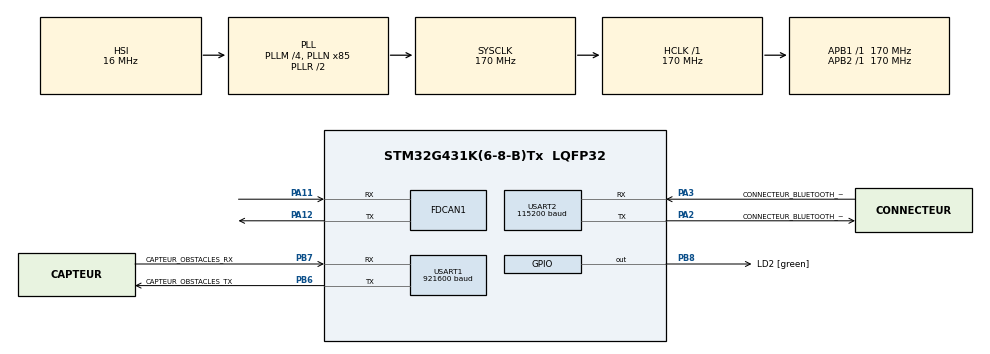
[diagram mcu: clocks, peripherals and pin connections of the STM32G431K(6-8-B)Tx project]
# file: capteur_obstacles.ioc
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FDCAN1.CalculateBaudRateNominal=1000000
FDCAN1.CalculateTimeBitNominal=1000
FDCAN1.CalculateTimeQuantumNominal=100.0
FDCAN1.NominalPrescaler=17
FDCAN1.NominalTimeSeg1=7
FDCAN1.NominalTimeSeg2=2
Mcu.Family=STM32G4
Mcu.Name=STM32G431K(6-8-B)Tx
Mcu.Package=LQFP32
NVIC.FDCAN1_IT0_IRQn=true\:0\:0\:false\:false\:true\:true\:true\:true
NVIC.PriorityGroup=NVIC_PRIORITYGROUP_4
NVIC.USART1_IRQn=true\:0\:0\:false\:false\:true\:true\:true\:true
NVIC.USART2_IRQn=true\:0\:0\:false\:false\:true\:true\:true\:true
PA11.Mode=FDCAN_Activate
PA11.Signal=FDCAN1_RX
PA12.Mode=FDCAN_Activate
PA12.Signal=FDCAN1_TX
PA13.GPIO_Label=T_SWDIO
PA13.Mode=Serial_Wire
PA13.Signal=SYS_JTMS-SWDIO
PA14.GPIO_Label=T_SWCLK
PA14.Mode=Serial_Wire
PA14.Signal=SYS_JTCK-SWCLK
PA2.GPIO_Label=CONNECTEUR_BLUETOOTH_TX
PA2.Mode=Asynchronous
PA2.Signal=USART2_TX
PA3.GPIO_Label=CONNECTEUR_BLUETOOTH_RX
PA3.Mode=Asynchronous
PA3.Signal=USART2_RX
PB3.GPIO_Label=T_SWO
PB3.Signal=SYS_JTDO-SWO
PB6.GPIO_Label=CAPTEUR_OBSTACLES_TX
PB6.Mode=Asynchronous
PB6.Signal=USART1_TX
PB7.GPIO_Label=CAPTEUR_OBSTACLES_RX
PB7.Mode=Asynchronous
PB7.Signal=USART1_RX
PB8-BOOT0.GPIO_Label=LD2 [green]
PB8-BOOT0.Signal=GPIO_Output
ProjectManager.HeapSize=0x200
ProjectManager.StackSize=0x400
ProjectManager.TargetToolchain=STM32CubeIDE
RCC.ADC12Freq_Value=170000000
RCC.AHBFreq_Value=170000000
RCC.APB1Freq_Value=170000000
RCC.APB1TimFreq_Value=170000000
RCC.APB2Freq_Value=170000000
RCC.APB2TimFreq_Value=170000000
RCC.CortexFreq_Value=170000000
RCC.EXTERNAL_CLOCK_VALUE=12288000
RCC.HCLKFreq_Value=170000000
RCC.HSE_VALUE=8000000
RCC.HSI48_VALUE=48000000
RCC.HSI_VALUE=16000000
RCC.LSE_VALUE=32768
RCC.PLLM=RCC_PLLM_DIV4
RCC.PLLN=85
RCC.SYSCLKFreq_VALUE=170000000
RCC.SYSCLKSource=RCC_SYSCLKSOURCE_PLLCLK
RCC.USBFreq_Value=170000000
RCC.VCOOutputFreq_Value=340000000
USART1.BaudRate=921600
USART1.VirtualMode-Asynchronous=VM_ASYNC
USART2.BaudRate=115200
USART2.VirtualMode-Asynchronous=VM_ASYNC
USART2.WordLength=WORDLENGTH_8B
VP_SYS_VS_DBSignals.Mode=DisableDeadBatterySignals
board=NUCLEO-G431KB

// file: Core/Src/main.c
/* USER CODE BEGIN Header */
/**
  ******************************************************************************
  * @file           : main.c
  * @brief          : Main program body
  ******************************************************************************
  * @attention
  *
  * Copyright (c) 2025 STMicroelectronics.
  * All rights reserved.
  *
  * This software is licensed under terms that can be found in the LICENSE file
  * in the root directory of this software component.
  * If no LICENSE file comes with this software, it is provided AS-IS.
  *
  ******************************************************************************
  */
/* USER CODE END Header */
#include "main.h"
#include "fdcan.h"
#include "usart.h"
#include "gpio.h"

/* USER CODE BEGIN Includes */
#include "capteur_obstacles.h"
#include <stdio.h>
#include "remote_gamepad.h"
/* USER CODE END Includes */

/* USER CODE BEGIN PD */
int __io_putchar(int ch)
{
	HAL_UART_Transmit(&huart2, (uint8_t*) &ch, 1, 0xFFFF);
	return ch;
}
int __io_getchar(void)
{
	int ch;
	HAL_UART_Receive(&huart2, (uint8_t*) &ch, 1, 0xFFFF);
	return ch;
}
/* USER CODE END PD */

/* USER CODE BEGIN PV */
uint8_t buffer_rx_connecteur_bluetooth[8];

uint16_t marker1 = 0;
T_FDCAN_trame_rx trame_rx;
T_FDCAN_trame_rx buffer_trame_rx[32];
/* USER CODE END PV */

void SystemClock_Config(void);

int main(void)
{

  /* MCU Configuration--------------------------------------------------------*/

  /* Reset of all peripherals, Initializes the Flash interface and the Systick. */
  HAL_Init();

  /* Configure the system clock */
  SystemClock_Config();

  /* Initialize all configured peripherals */
  MX_GPIO_Init();
  MX_USART2_UART_Init();
  MX_USART1_UART_Init();
  MX_FDCAN1_Init();
  /* USER CODE BEGIN 2 */
  capteur_obstacles_init();
  HAL_UART_Receive_IT(&huart2, buffer_rx_connecteur_bluetooth, 1);

  HAL_FDCAN_Start(&hfdcan1);
  HAL_FDCAN_ActivateNotification(&hfdcan1, FDCAN_IT_RX_FIFO0_NEW_MESSAGE, 0);

  printf("Programme capteur d'obstacles et connecteur BLUETOOTH\n");
  printf("Compile le %s\n", __DATE__);
  /**
   * @todo Vérifier si c'est fonction change l'ID du capteur d'obstacle capteur_obstacles_set_data_output_mode()
   * @todo Faire un test avec connecteur bluetooth sur l'uart 2 avec le capteur d'obstacles
   * @warning Le code ne gère pas la reconnexion à chaud
   * @warning Au bout d'un certain temps la reception en dma circulaire sur 16bits ne fonctionne plus -> passage à un automate de décodage
   */
  //capteur_obstacles_set_data_output_mode(TOF_LEFT_SENSOR_ID, TOF_ACTIVE);

  /* USER CODE END 2 */

  /* Infinite loop */
  /* USER CODE BEGIN WHILE */
  while (1)
  {
	 if (flag_decoding_frame_complete)
	 {
		 //capteur_obstacles_print_frame_teleplot_format(&global_tf0);

		 /**
		  * @todo Faire algo de detection d'objets à l'arrière
		  * @todo Envoyer en CAN la distance de l'objet détecté et son type si possible
		  */

		 if (global_tf0.checksum_pass)
		 {
			 send_frame_capteur_obstacles(global_tf0);
			 //capteur_obstacles_print_frame_teleplot_format(global_tf0);
		 }

		 flag_decoding_frame_complete = false;
	 }
    /* USER CODE END WHILE */

  }
}

void SystemClock_Config(void)
{
  RCC_OscInitTypeDef RCC_OscInitStruct = {0};
  RCC_ClkInitTypeDef RCC_ClkInitStruct = {0};

  /** Configure the main internal regulator output voltage
  */
  HAL_PWREx_ControlVoltageScaling(PWR_REGULATOR_VOLTAGE_SCALE1_BOOST);

  /** Initializes the RCC Oscillators according to the specified parameters
  * in the RCC_OscInitTypeDef structure.
  */
  RCC_OscInitStruct.OscillatorType = RCC_OSCILLATORTYPE_HSI;
  RCC_OscInitStruct.HSIState = RCC_HSI_ON;
  RCC_OscInitStruct.HSICalibrationValue = RCC_HSICALIBRATION_DEFAULT;
  RCC_OscInitStruct.PLL.PLLState = RCC_PLL_ON;
  RCC_OscInitStruct.PLL.PLLSource = RCC_PLLSOURCE_HSI;
  RCC_OscInitStruct.PLL.PLLM = RCC_PLLM_DIV4;
  RCC_OscInitStruct.PLL.PLLN = 85;
  RCC_OscInitStruct.PLL.PLLP = RCC_PLLP_DIV2;
  RCC_OscInitStruct.PLL.PLLQ = RCC_PLLQ_DIV2;
  RCC_OscInitStruct.PLL.PLLR = RCC_PLLR_DIV2;
  if (HAL_RCC_OscConfig(&RCC_OscInitStruct) != HAL_OK)
  {
    Error_Handler();
  }

  /** Initializes the CPU, AHB and APB buses clocks
  */
  RCC_ClkInitStruct.ClockType = RCC_CLOCKTYPE_HCLK|RCC_CLOCKTYPE_SYSCLK
                              |RCC_CLOCKTYPE_PCLK1|RCC_CLOCKTYPE_PCLK2;
  RCC_ClkInitStruct.SYSCLKSource = RCC_SYSCLKSOURCE_PLLCLK;
  RCC_ClkInitStruct.AHBCLKDivider = RCC_SYSCLK_DIV1;
  RCC_ClkInitStruct.APB1CLKDivider = RCC_HCLK_DIV1;
  RCC_ClkInitStruct.APB2CLKDivider = RCC_HCLK_DIV1;

  if (HAL_RCC_ClockConfig(&RCC_ClkInitStruct, FLASH_LATENCY_4) != HAL_OK)
  {
    Error_Handler();
  }
}

/* USER CODE BEGIN 4 */
void HAL_UART_RxCpltCallback(UART_HandleTypeDef *huart)
{
	if (huart->Instance == USART1)
	{
		capteur_obstacles_automate_decode(buffer_DMA_reception[0]);
		capteur_obstacles_init();
	}

	if (huart->Instance == USART2)
	{
		handle_receive_character(buffer_rx_connecteur_bluetooth[0]);

		printf("BT > %s\n", buffer_rx_connecteur_bluetooth);
		HAL_UART_Receive_IT(&huart2, buffer_rx_connecteur_bluetooth, 1);
	}

}

void HAL_FDCAN_RxFifo0Callback(FDCAN_HandleTypeDef *hfdcan, uint32_t RxFifo0ITs) {
	HAL_FDCAN_GetRxMessage(&hfdcan1, FDCAN_RX_FIFO0,
			&buffer_trame_rx[marker1].header,
			&buffer_trame_rx[marker1].data[0]);

	marker1++;

	if (marker1 == 32) {
		marker1 = 0;
	}
}
/* USER CODE END 4 */

void Error_Handler(void)
{
  __disable_irq();
  while (1)
  {
  }
}
